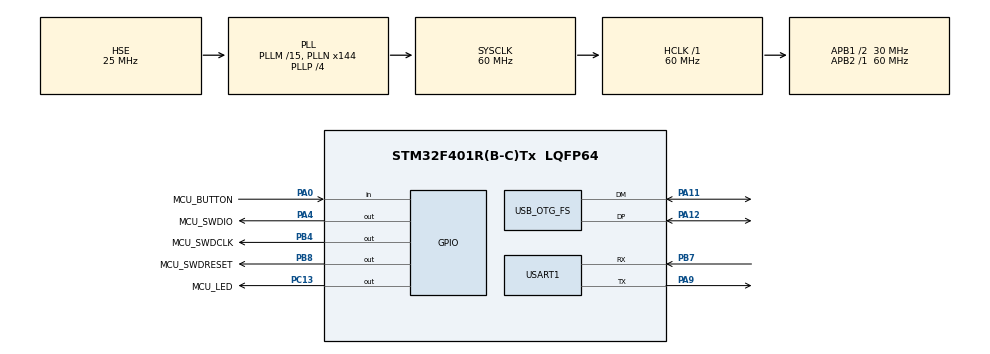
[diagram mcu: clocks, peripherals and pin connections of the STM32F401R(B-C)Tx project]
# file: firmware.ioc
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Mcu.Family=STM32F4
Mcu.Name=STM32F401R(B-C)Tx
Mcu.Package=LQFP64
NVIC.OTG_FS_IRQn=true\:0\:0\:false\:false\:true\:false\:true\:true
NVIC.PriorityGroup=NVIC_PRIORITYGROUP_4
PA0-WKUP.GPIO_Label=MCU_BUTTON
PA0-WKUP.GPIO_PuPd=GPIO_PULLUP
PA0-WKUP.Signal=GPIO_Input
PA11.Mode=Device_Only
PA11.Signal=USB_OTG_FS_DM
PA12.Mode=Device_Only
PA12.Signal=USB_OTG_FS_DP
PA4.GPIO_Label=MCU_SWDIO
PA4.GPIO_PuPd=GPIO_PULLUP
PA4.GPIO_Speed=GPIO_SPEED_FREQ_VERY_HIGH
PA4.Signal=GPIO_Output
PA9.Mode=Asynchronous
PA9.Signal=USART1_TX
PB4.GPIO_Label=MCU_SWDCLK
PB4.GPIO_Speed=GPIO_SPEED_FREQ_VERY_HIGH
PB4.Signal=GPIO_Output
PB7.Mode=Asynchronous
PB7.Signal=USART1_RX
PB8.GPIO_Label=MCU_SWDRESET
PB8.GPIO_ModeDefaultOutputPP=GPIO_MODE_OUTPUT_OD
PB8.GPIO_PuPd=GPIO_NOPULL
PB8.PinState=GPIO_PIN_SET
PB8.Signal=GPIO_Output
PC13-ANTI_TAMP.GPIO_Label=MCU_LED
PC13-ANTI_TAMP.Signal=GPIO_Output
PC14-OSC32_IN.Mode=LSE-External-Oscillator
PC14-OSC32_IN.Signal=RCC_OSC32_IN
PC15-OSC32_OUT.Mode=LSE-External-Oscillator
PC15-OSC32_OUT.Signal=RCC_OSC32_OUT
PH0\ -\ OSC_IN.Mode=HSE-External-Oscillator
PH0\ -\ OSC_IN.Signal=RCC_OSC_IN
PH1\ -\ OSC_OUT.Mode=HSE-External-Oscillator
PH1\ -\ OSC_OUT.Signal=RCC_OSC_OUT
ProjectManager.HeapSize=0x200
ProjectManager.StackSize=0x400
ProjectManager.TargetToolchain=CMake
RCC.48MHZClocksFreq_Value=48000000
RCC.AHBFreq_Value=60000000
RCC.APB1CLKDivider=RCC_HCLK_DIV2
RCC.APB1Freq_Value=30000000
RCC.APB1TimFreq_Value=60000000
RCC.APB2Freq_Value=60000000
RCC.APB2TimFreq_Value=60000000
RCC.CortexFreq_Value=60000000
RCC.HCLKFreq_Value=60000000
RCC.HSE_VALUE=25000000
RCC.HSI_VALUE=16000000
RCC.PLLM=15
RCC.PLLN=144
RCC.PLLP=RCC_PLLP_DIV4
RCC.PLLQ=5
RCC.PLLSourceVirtual=RCC_PLLSOURCE_HSE
RCC.SYSCLKFreq_VALUE=60000000
RCC.SYSCLKSource=RCC_SYSCLKSOURCE_PLLCLK
RCC.VCOOutputFreq_Value=240000000
USART1.VirtualMode=VM_ASYNC
USB_DEVICE.CLASS_NAME_FS=CUSTOM_HID
USB_DEVICE.CUSTOM_HID_FS_BINTERVAL=0x1
USB_DEVICE.PRODUCT_STRING_CUSTOMHID_FS=TUE CMSIS-DAP
USB_DEVICE.USBD_CUSTOMHID_OUTREPORT_BUF_SIZE=64
USB_DEVICE.USBD_CUSTOM_HID_REPORT_DESC_SIZE=27
USB_DEVICE.VirtualMode=CustomHid
USB_DEVICE.VirtualModeFS=Custom_Hid_FS
USB_OTG_FS.VirtualMode=Device_Only
VP_USB_DEVICE_VS_USB_DEVICE_CUSTOM_HID_FS.Mode=CUSTOM_HID_FS
board=custom

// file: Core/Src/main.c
/* USER CODE BEGIN Header */
/**
  ******************************************************************************
  * @file           : main.c
  * @brief          : Main program body
  ******************************************************************************
  * @attention
  *
  * Copyright (c) 2026 STMicroelectronics.
  * All rights reserved.
  *
  * This software is licensed under terms that can be found in the LICENSE file
  * in the root directory of this software component.
  * If no LICENSE file comes with this software, it is provided AS-IS.
  *
  ******************************************************************************
  */
/* USER CODE END Header */
#include "main.h"
#include "usart.h"
#include "usb_device.h"
#include "gpio.h"

/* USER CODE BEGIN Includes */
#include <stdio.h>
#include <stdlib.h>
#include <string.h>
#include "swd.h"
#include "dap.h"
#include "stm32_target.h"
#include "led_status.h"
#include "usbd_cdc_if.h"
/* USER CODE END Includes */

void SystemClock_Config(void);

/* USER CODE BEGIN 0 */
static char     s_cliLine[96];
static uint32_t s_cliPos = 0U;

int _write(int file, char *ptr, int len)
{
  (void)file;
  HAL_UART_Transmit(&huart1, (uint8_t *)ptr, (uint16_t)len, 100U);
  return len;
}

static void printTargetProbe(void)
{
  if (DAP_IsConnected())
  {
    printf("[WARN] USB CMSIS-DAP session active; disconnect IDE before standalone probe\r\n");
    return;
  }

  Stm32TargetInfo_t info;
  char err[128] = {0};
  if (stm32TargetProbe(&info, err, sizeof(err)))
  {
    printf("[SWD] CONNECTED: %s\r\n", info.name);
    printf("      DP_IDCODE=0x%08lX DBGMCU_IDCODE=0x%08lX (DEV_ID=0x%03X REV=0x%04X)\r\n",
           (unsigned long)info.dpIdcode, (unsigned long)info.dbgIdcode,
           info.devId, info.revId);
    printf("      Flash=%lu KB | Page/Sector=%lu B | RDP=0x%02X (%s)\r\n",
           (unsigned long)info.flashSizeKB, (unsigned long)info.pageOrSectorSize,
           info.rdpLevel, (info.rdpLevel == 0xAAU) ? "Level 0" : "Protected");
  }
  else
  {
    printf("[SWD] DISCONNECTED: %s\r\n", err);
  }
}

static void processCliCommand(char *cmd)
{
  char err[128] = {0};

  if (strcmp(cmd, "check") == 0 || strcmp(cmd, "c") == 0 || strcmp(cmd, "probe") == 0)
  {
    printTargetProbe();
  }
  else if (strcmp(cmd, "link") == 0)
  {
    uint32_t dpId = 0U;
    if (stm32TargetCheckLink(&dpId))
      printf("[SWD] Link OK: DP_IDCODE=0x%08lX\r\n", (unsigned long)dpId);
    else
      printf("[SWD] No target ACK\r\n");
  }
  else if (strcmp(cmd, "reset") == 0 || strcmp(cmd, "r") == 0)
  {
    if (stm32TargetReset(err, sizeof(err)))
      printf("[SWD] Target reset OK\r\n");
    else
      printf("[SWD] Target reset FAILED: %s\r\n", err);
  }
  else if (strcmp(cmd, "halt") == 0)
  {
    if (stm32TargetHalt(err, sizeof(err)))
      printf("[SWD] Target CPU halted\r\n");
    else
      printf("[SWD] Halt FAILED: %s\r\n", err);
  }
  else if (strcmp(cmd, "run") == 0)
  {
    if (stm32TargetResume(err, sizeof(err)))
      printf("[SWD] Target CPU resumed\r\n");
    else
      printf("[SWD] Resume FAILED: %s\r\n", err);
  }
  else if (strncmp(cmd, "read ", 5) == 0)
  {
    uint32_t addr = (uint32_t)strtoul(&cmd[5], NULL, 0);
    uint32_t val = 0U;
    swdInit();
    if (swdConnect() != 0U && swdPowerUp() && memRead32(addr, &val))
      printf("[SWD] [0x%08lX] = 0x%08lX\r\n", (unsigned long)addr, (unsigned long)val);
    else
      printf("[SWD] Read 0x%08lX failed (%s)\r\n", (unsigned long)addr, swdErrorStr(swdLastError()));
    swdRelease();
  }
  else if (strcmp(cmd, "status") == 0 || strcmp(cmd, "s") == 0)
  {
    printf("[INFO] USB_DAP=%s | HCLK=%lu MHz | NRST_PIN=%s\r\n",
           DAP_IsConnected() ? "CONNECTED" : "IDLE",
           (unsigned long)(SystemCoreClock / 1000000UL),
           swdGetResetState() ? "HIGH (Released)" : "LOW (Asserted)");
  }
  else
  {
    printf("[HELP] Commands: probe (c), link, reset (r), halt, run, read <0xADDR>, status (s)\r\n");
  }
}

static void serviceButtonAndCli(void)
{
  /* PA0 (MCU_BUTTON, active LOW with internal pull-up):
   * Direct Hardware Reset mirror -> PB8 (nRESET) stays LOW while button is held,
   * and returns HIGH (3.3V) immediately upon release (non-blocking). */
  static uint8_t  lastBtn = GPIO_PIN_SET;
  static uint32_t lastDebounceMs = 0U;
  uint8_t rawBtn = (uint8_t)HAL_GPIO_ReadPin(MCU_BUTTON_GPIO_Port, MCU_BUTTON_Pin);
  uint32_t now = HAL_GetTick();

  if (rawBtn != lastBtn && (now - lastDebounceMs) > 25U)
  {
    lastDebounceMs = now;
    lastBtn = rawBtn;
    if (rawBtn == GPIO_PIN_RESET)
    {
      /* Button pressed -> assert nRESET LOW immediately and keep it LOW while held */
      swdSetReset(true);
      ledStatusActivityPulse();
    }
    else
    {
      /* Button released -> release nRESET HIGH (3.3V) immediately */
      swdSetReset(false);
      ledStatusActivityPulse();
    }
  }
  if (rawBtn == GPIO_PIN_RESET)
  {
    /* Keep continuous flicker while hardware reset button is held down */
    ledStatusActivityPulse();
  }
  (void)s_cliLine;
  (void)s_cliPos;
  (void)processCliCommand;
}
/* USER CODE END 0 */

int main(void)
{

  /* MCU Configuration--------------------------------------------------------*/

  /* Reset of all peripherals, Initializes the Flash interface and the Systick. */
  HAL_Init();

  /* Configure the system clock */
  SystemClock_Config();

  /* Initialize all configured peripherals */
  MX_GPIO_Init();
  MX_USART1_UART_Init();
  MX_USB_DEVICE_Init();
  /* USER CODE BEGIN 2 */
  DAP_Init();
  /* USER CODE END 2 */

  /* Infinite loop */
  /* USER CODE BEGIN WHILE */
  while (1)
  {
    DAP_Task();
    CDC_UART_Task();
    serviceButtonAndCli();
    ledStatusUpdate();
    /* USER CODE END WHILE */

  }
}

void SystemClock_Config(void)
{
  RCC_OscInitTypeDef RCC_OscInitStruct = {0};
  RCC_ClkInitTypeDef RCC_ClkInitStruct = {0};

  /** Configure the main internal regulator output voltage
  */
  __HAL_RCC_PWR_CLK_ENABLE();
  __HAL_PWR_VOLTAGESCALING_CONFIG(PWR_REGULATOR_VOLTAGE_SCALE2);

  /** Initializes the RCC Oscillators according to the specified parameters
  * in the RCC_OscInitTypeDef structure.
  */
  RCC_OscInitStruct.OscillatorType = RCC_OSCILLATORTYPE_HSE;
  RCC_OscInitStruct.HSEState = RCC_HSE_ON;
  RCC_OscInitStruct.PLL.PLLState = RCC_PLL_ON;
  RCC_OscInitStruct.PLL.PLLSource = RCC_PLLSOURCE_HSE;
  RCC_OscInitStruct.PLL.PLLM = 15;
  RCC_OscInitStruct.PLL.PLLN = 144;
  RCC_OscInitStruct.PLL.PLLP = RCC_PLLP_DIV4;
  RCC_OscInitStruct.PLL.PLLQ = 5;
  if (HAL_RCC_OscConfig(&RCC_OscInitStruct) != HAL_OK)
  {
    Error_Handler();
  }

  /** Initializes the CPU, AHB and APB buses clocks
  */
  RCC_ClkInitStruct.ClockType = RCC_CLOCKTYPE_HCLK|RCC_CLOCKTYPE_SYSCLK
                              |RCC_CLOCKTYPE_PCLK1|RCC_CLOCKTYPE_PCLK2;
  RCC_ClkInitStruct.SYSCLKSource = RCC_SYSCLKSOURCE_PLLCLK;
  RCC_ClkInitStruct.AHBCLKDivider = RCC_SYSCLK_DIV1;
  RCC_ClkInitStruct.APB1CLKDivider = RCC_HCLK_DIV2;
  RCC_ClkInitStruct.APB2CLKDivider = RCC_HCLK_DIV1;

  if (HAL_RCC_ClockConfig(&RCC_ClkInitStruct, FLASH_LATENCY_1) != HAL_OK)
  {
    Error_Handler();
  }
}

void Error_Handler(void)
{
  __disable_irq();
  while (1)
  {
  }
}
